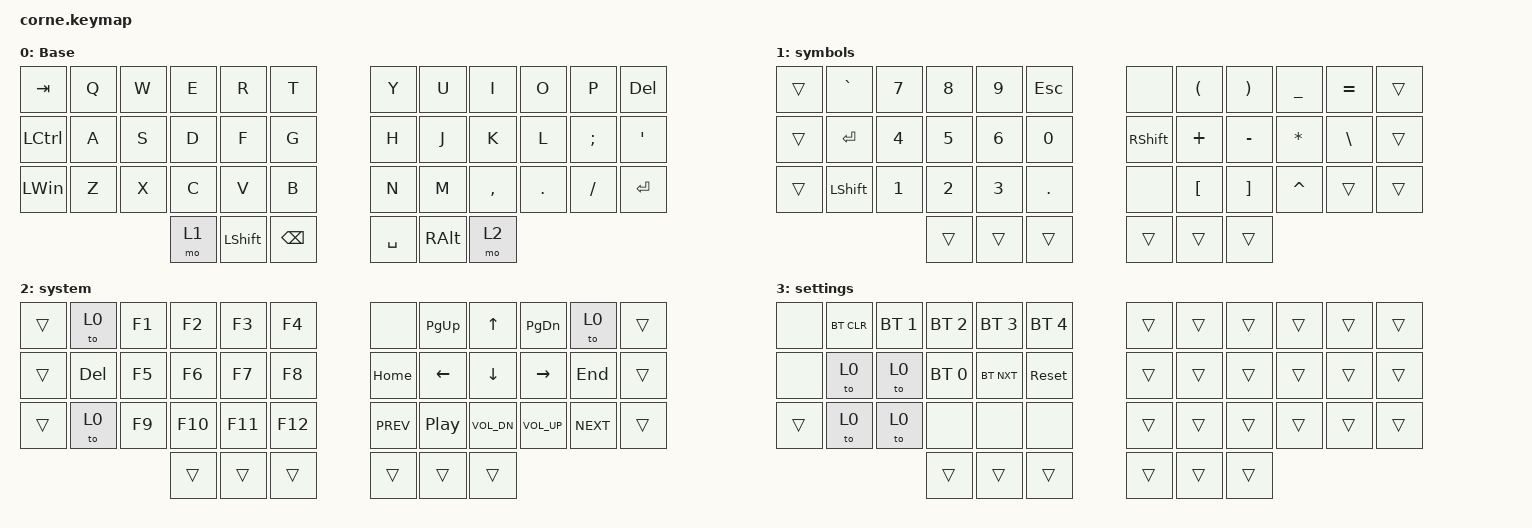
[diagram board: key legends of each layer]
/*
 * Copyright (c) 2020 The ZMK Contributors
 *
 * SPDX-License-Identifier: MIT
 */

#include <behaviors.dtsi>
#include <dt-bindings/zmk/bt.h>
#include <dt-bindings/zmk/keys.h>

/ {
    combos {
        compatible = "zmk,combos";

        settings_combo {
            bindings = <&mo 3>;
            key-positions = <24 38>;
            layers = <0>;
        };
    };

    keymap {
        compatible = "zmk,keymap";

        default_layer {
            // -----------------------------------------------------------------------------------------
            // |  TAB |  Q  |  W  |  E  |  R  |  T  |   |  Y  |  U   |  I  |  O  |  P  | BKSP |
            // | CTRL |  A  |  S  |  D  |  F  |  G  |   |  H  |  J   |  K  |  L  |  ;  |  '   |
            // | SHFT |  Z  |  X  |  C  |  V  |  B  |   |  N  |  M   |  ,  |  .  |  /  | ESC  |
            //                    | GUI | LWR | SPC |   | ENT | RSE  | ALT |

            label = "Base";
            bindings = <
&kp TAB    &kp Q  &kp W  &kp E  &kp R           &kp T            &kp Y      &kp U          &kp I      &kp O    &kp P     &kp DELETE
&kp LCTRL  &kp A  &kp S  &kp D  &kp F           &kp G            &kp H      &kp J          &kp K      &kp L    &kp SEMI  &kp SQT
&kp LWIN   &kp Z  &kp X  &kp C  &kp V           &kp B            &kp N      &kp M          &kp COMMA  &kp DOT  &kp FSLH  &kp ENTER
                         &mo 1  &kp LEFT_SHIFT  &kp BACKSPACE    &kp SPACE  &kp RIGHT_ALT  &mo 2
            >;
        };

        symbol_layer {
            // -----------------------------------------------------------------------------------------
            // |  TAB |  1  |  2  |  3  |  4  |  5  |   |  6  |  7  |  8  |  9  |  0  | BKSP |
            // | BTCLR| BT1 | BT2 | BT3 | BT4 | BT5 |   | LFT | DWN |  UP | RGT |     |      |
            // | SHFT |     |     |     |     |     |   |     |     |     |     |     |      |
            //                    | GUI |     | SPC |   | ENT |     | ALT |

            label = "symbols";
            bindings = <
&trans  &kp GRAVE       &kp N7        &kp N8        &kp N9        &kp ESCAPE    &none            &kp LEFT_PARENTHESIS  &kp RIGHT_PARENTHESIS  &kp UNDER     &kp EQUAL      &trans
&trans  &kp ENTER       &kp N4        &kp N5        &kp N6        &kp N0        &kp RIGHT_SHIFT  &kp PLUS              &kp MINUS              &kp ASTERISK  &kp BACKSLASH  &trans
&trans  &kp LEFT_SHIFT  &kp NUMBER_1  &kp NUMBER_2  &kp NUMBER_3  &kp DOT       &none            &kp LEFT_BRACKET      &kp RIGHT_BRACKET      &kp CARET     &trans         &trans
                                      &trans        &trans        &trans        &trans           &trans                &trans
            >;
        };

        system_layer {
            bindings = <
&trans  &to 0    &kp F1  &kp F2   &kp F3   &kp F4     &none       &kp PG_UP  &kp UP        &kp PG_DN     &to 0       &trans
&trans  &kp DEL  &kp F5  &kp F6   &kp F7   &kp F8     &kp HOME    &kp LEFT   &kp DOWN      &kp RIGHT     &kp END     &trans
&trans  &to 0    &kp F9  &kp F10  &kp F11  &kp F12    &kp C_PREV  &kp C_PP   &kp C_VOL_DN  &kp C_VOL_UP  &kp C_NEXT  &trans
                         &trans   &trans   &trans     &trans      &trans     &trans
            >;

            label = "system";
        };

        settings_layer {
            bindings = <
&none   &bt BT_CLR  &bt BT_SEL 1  &bt BT_SEL 2  &bt BT_SEL 3  &bt BT_SEL 4    &trans  &trans  &trans  &trans  &trans  &trans
&none   &to 0       &to 0         &bt BT_SEL 0  &bt BT_NXT    &sys_reset      &trans  &trans  &trans  &trans  &trans  &trans
&trans  &to 0       &to 0         &none         &none         &none           &trans  &trans  &trans  &trans  &trans  &trans
                                  &trans        &trans        &trans          &trans  &trans  &trans
            >;

            label = "settings";
        };
    };
};
